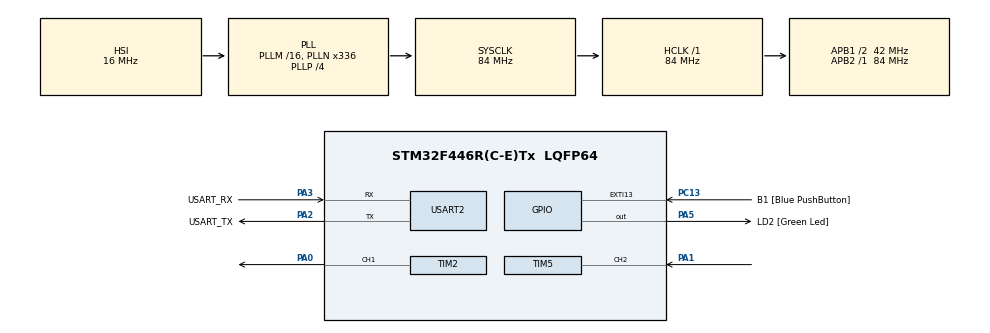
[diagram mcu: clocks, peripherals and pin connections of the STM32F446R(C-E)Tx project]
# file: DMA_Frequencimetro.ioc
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Dma.Request0=TIM5_CH2
Dma.Request1=USART2_TX
Dma.TIM5_CH2.0.Direction=DMA_PERIPH_TO_MEMORY
Dma.TIM5_CH2.0.FIFOMode=DMA_FIFOMODE_DISABLE
Dma.TIM5_CH2.0.Instance=DMA1_Stream4
Dma.TIM5_CH2.0.MemDataAlignment=DMA_MDATAALIGN_WORD
Dma.TIM5_CH2.0.MemInc=DMA_MINC_ENABLE
Dma.TIM5_CH2.0.Mode=DMA_CIRCULAR
Dma.TIM5_CH2.0.PeriphDataAlignment=DMA_PDATAALIGN_WORD
Dma.TIM5_CH2.0.PeriphInc=DMA_PINC_DISABLE
Dma.TIM5_CH2.0.Priority=DMA_PRIORITY_HIGH
Dma.USART2_TX.1.Direction=DMA_MEMORY_TO_PERIPH
Dma.USART2_TX.1.FIFOMode=DMA_FIFOMODE_DISABLE
Dma.USART2_TX.1.Instance=DMA1_Stream6
Dma.USART2_TX.1.MemDataAlignment=DMA_MDATAALIGN_BYTE
Dma.USART2_TX.1.MemInc=DMA_MINC_ENABLE
Dma.USART2_TX.1.Mode=DMA_NORMAL
Dma.USART2_TX.1.PeriphDataAlignment=DMA_PDATAALIGN_BYTE
Dma.USART2_TX.1.PeriphInc=DMA_PINC_DISABLE
Dma.USART2_TX.1.Priority=DMA_PRIORITY_LOW
Mcu.Family=STM32F4
Mcu.Name=STM32F446R(C-E)Tx
Mcu.Package=LQFP64
NVIC.DMA1_Stream4_IRQn=true\:0\:0\:false\:false\:true\:false\:true
NVIC.DMA1_Stream6_IRQn=true\:0\:0\:false\:false\:true\:false\:true
NVIC.PriorityGroup=NVIC_PRIORITYGROUP_0
NVIC.USART2_IRQn=true\:0\:0\:false\:false\:true\:true\:true
PA0-WKUP.Signal=S_TIM2_CH1_ETR
PA1.Signal=S_TIM5_CH2
PA13.GPIO_Label=TMS
PA13.Mode=Serial_Wire
PA13.Signal=SYS_JTMS-SWDIO
PA14.GPIO_Label=TCK
PA14.Mode=Serial_Wire
PA14.Signal=SYS_JTCK-SWCLK
PA2.GPIO_Label=USART_TX
PA2.Mode=Asynchronous
PA2.Signal=USART2_TX
PA3.GPIO_Label=USART_RX
PA3.Mode=Asynchronous
PA3.Signal=USART2_RX
PA5.GPIO_Label=LD2 [Green Led]
PA5.Signal=GPIO_Output
PB3.GPIO_Label=SWO
PB3.Signal=SYS_JTDO-SWO
PC13.GPIO_Label=B1 [Blue PushButton]
PC13.GPIO_ModeDefaultEXTI=GPIO_MODE_IT_FALLING
PC13.Signal=GPXTI13
PC14-OSC32_IN.Mode=LSE-External-Oscillator
PC14-OSC32_IN.Signal=RCC_OSC32_IN
PC15-OSC32_OUT.Mode=LSE-External-Oscillator
PC15-OSC32_OUT.Signal=RCC_OSC32_OUT
PH0-OSC_IN.Mode=HSE-External-Oscillator
PH0-OSC_IN.Signal=RCC_OSC_IN
PH1-OSC_OUT.Mode=HSE-External-Oscillator
PH1-OSC_OUT.Signal=RCC_OSC_OUT
ProjectManager.HeapSize=0x200
ProjectManager.StackSize=0x400
ProjectManager.TargetToolchain=STM32CubeIDE
RCC.48MHZClocksFreq_Value=84000000
RCC.AHBFreq_Value=84000000
RCC.APB1CLKDivider=RCC_HCLK_DIV2
RCC.APB1Freq_Value=42000000
RCC.APB1TimFreq_Value=84000000
RCC.APB2Freq_Value=84000000
RCC.APB2TimFreq_Value=84000000
RCC.CortexFreq_Value=84000000
RCC.FLatency-AdvancedSettings=FLASH_LATENCY_2
RCC.HCLKFreq_Value=84000000
RCC.HSE_VALUE=8000000
RCC.HSI_VALUE=16000000
RCC.PLLN=336
RCC.PLLP=RCC_PLLP_DIV4
RCC.SYSCLKFreq_VALUE=84000000
RCC.SYSCLKSource=RCC_SYSCLKSOURCE_PLLCLK
RCC.USBFreq_Value=168000000
RCC.VCOOutputFreq_Value=336000000
SH.S_TIM2_CH1_ETR.0=TIM2_CH1,Output Compare1 CH1
SH.S_TIM5_CH2.0=TIM5_CH2,Input_Capture2_from_TI2
TIM10.Period=9999
TIM10.Prescaler=8399
TIM2.Channel-Output\ Compare1\ CH1=TIM_CHANNEL_1
TIM2.OCMode_1=TIM_OCMODE_TOGGLE
TIM2.Period=999
TIM2.Prescaler=4199
TIM2.Pulse-Output\ Compare1\ CH1=100
TIM5.Channel-Input_Capture2_from_TI2=TIM_CHANNEL_2
TIM5.ClockDivision=TIM_CLOCKDIVISION_DIV4
TIM5.ICFilter_CH2=5
TIM5.Period=4294967200
TIM5.Prescaler=83
USART2.VirtualMode=VM_ASYNC
VP_TIM10_VS_ClockSourceINT.Mode=Enable_Timer
VP_TIM2_VS_ClockSourceINT.Mode=Internal
VP_TIM5_VS_ClockSourceINT.Mode=Internal
board=NUCLEO-F446RE

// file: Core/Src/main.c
/* USER CODE BEGIN Header */
/**
  ******************************************************************************
  * @file           main.c
  * @author 		Adriano André
  * @date			mai/2020
  * @version		1.0v
  * @brief          Medidor de período e frequência.
  *	Utilizando o modo Input Capture, construa uma aplicação capaz de medir o período de
  *	um pulso, com uma resolução de tempo de 1 μs.
  *	Exiba o resultado através de um terminal serial, por exemplo.
  *	Utilize DMA para fazer a leitura dos tempos das 2 bordas.
  ******************************************************************************
  */
/* USER CODE END Header */

#include "main.h"
#include "dma.h"
#include "tim.h"
#include "usart.h"
#include "gpio.h"

/* USER CODE BEGIN Includes */
#include "string.h"
#include "stdlib.h"
#include "stdio.h"
/* USER CODE END Includes */

/* USER CODE BEGIN PD */
#define MSG_SIZE       100			///<tamanho da string message
#define EDGES           2			///<número de bordas a serem lidas
/* USER CODE END PD */

/* USER CODE BEGIN PV */
uint32_t period;					///<periodo medido do sinal injetado
uint32_t frequence;					///<frequencia medida do sinal injetado
volatile uint32_t measure[EDGES];	///<medida das bordas do sinal
enum TEDGE 							///<enumeração para controle do vetor de bordas
	{
	previous,
	current
	};
char message[MSG_SIZE];      	///<string usada para envio dos dados pela serial
/* USER CODE END PV */

void SystemClock_Config(void);

int main(void)
{

  /* MCU Configuration--------------------------------------------------------*/

  /* Reset of all peripherals, Initializes the Flash interface and the Systick. */
  HAL_Init();

  /* Configure the system clock */
  SystemClock_Config();

  /* Initialize all configured peripherals */
  MX_GPIO_Init();
  MX_DMA_Init();
  MX_USART2_UART_Init();
  MX_TIM2_Init();
  MX_TIM5_Init();
  MX_TIM10_Init();
  /* USER CODE BEGIN 2 */
  //!ativação dos timers
  HAL_TIM_IC_Start_DMA(&htim5, TIM_CHANNEL_2, (uint32_t*) measure, EDGES);	//ligando o timer 5 (CH2) em modo input capture com DMA
  HAL_TIM_OC_Start(&htim2, TIM_CHANNEL_1);									//ligando o timer 2 (CH1) em modo output compare (gera sinal)
  HAL_TIM_Base_Start(&htim10);												//ligando o timer 10 para envio de dados pela usart2
  __HAL_TIM_CLEAR_FLAG(&htim10,TIM_FLAG_UPDATE);
  /* USER CODE END 2 */

  /* Infinite loop */
  /* USER CODE BEGIN WHILE */
  while (1)
  {
	  //!envio dos dados coletados
	  if(__HAL_TIM_GET_FLAG(&htim10,TIM_FLAG_UPDATE))
	  {
	  __HAL_TIM_CLEAR_FLAG(&htim10,TIM_FLAG_UPDATE);
	  sprintf(message,
			  "Borda anterior=%li\tBorda atual=%li\tPeriodo=%li us\tFrequencia=%li Hz\n\r",
			  measure[previous],measure[current],period,frequence);
	  HAL_UART_Transmit_DMA(&huart2, (uint8_t*)&message, strlen(message));
	  }
    /* USER CODE END WHILE */

  }
}

void SystemClock_Config(void)
{
  RCC_OscInitTypeDef RCC_OscInitStruct = {0};
  RCC_ClkInitTypeDef RCC_ClkInitStruct = {0};

  /** Configure the main internal regulator output voltage
  */
  __HAL_RCC_PWR_CLK_ENABLE();
  __HAL_PWR_VOLTAGESCALING_CONFIG(PWR_REGULATOR_VOLTAGE_SCALE3);
  /** Initializes the CPU, AHB and APB busses clocks
  */
  RCC_OscInitStruct.OscillatorType = RCC_OSCILLATORTYPE_HSI;
  RCC_OscInitStruct.HSIState = RCC_HSI_ON;
  RCC_OscInitStruct.HSICalibrationValue = RCC_HSICALIBRATION_DEFAULT;
  RCC_OscInitStruct.PLL.PLLState = RCC_PLL_ON;
  RCC_OscInitStruct.PLL.PLLSource = RCC_PLLSOURCE_HSI;
  RCC_OscInitStruct.PLL.PLLM = 16;
  RCC_OscInitStruct.PLL.PLLN = 336;
  RCC_OscInitStruct.PLL.PLLP = RCC_PLLP_DIV4;
  RCC_OscInitStruct.PLL.PLLQ = 2;
  RCC_OscInitStruct.PLL.PLLR = 2;
  if (HAL_RCC_OscConfig(&RCC_OscInitStruct) != HAL_OK)
  {
    Error_Handler();
  }
  /** Initializes the CPU, AHB and APB busses clocks
  */
  RCC_ClkInitStruct.ClockType = RCC_CLOCKTYPE_HCLK|RCC_CLOCKTYPE_SYSCLK
                              |RCC_CLOCKTYPE_PCLK1|RCC_CLOCKTYPE_PCLK2;
  RCC_ClkInitStruct.SYSCLKSource = RCC_SYSCLKSOURCE_PLLCLK;
  RCC_ClkInitStruct.AHBCLKDivider = RCC_SYSCLK_DIV1;
  RCC_ClkInitStruct.APB1CLKDivider = RCC_HCLK_DIV2;
  RCC_ClkInitStruct.APB2CLKDivider = RCC_HCLK_DIV1;

  if (HAL_RCC_ClockConfig(&RCC_ClkInitStruct, FLASH_LATENCY_2) != HAL_OK)
  {
    Error_Handler();
  }
}

/* USER CODE BEGIN 4 */
/**
 * @brief Calcula o periodo do sinal lido
 * @param htim handler do timer que requisitou a interrupção
 */
void HAL_TIM_IC_CaptureCallback(TIM_HandleTypeDef *htim)
{
	period=measure[current]-measure[previous];						//calculando período
	frequence=(1/(period*0.000001));								//calculando frequência
}

/* USER CODE END 4 */

void Error_Handler(void)
{
}

/************************ (C) COPYRIGHT STMicroelectronics *****END OF FILE****/
